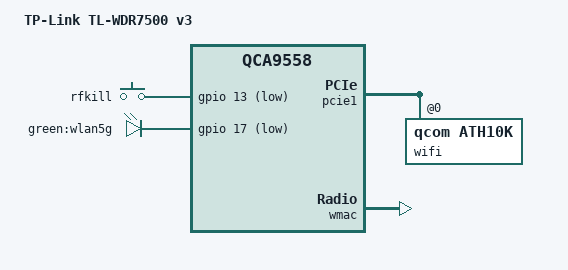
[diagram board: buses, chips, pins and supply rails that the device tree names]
// SPDX-License-Identifier: GPL-2.0-or-later OR MIT

#include "qca9558_tplink_archer-c.dtsi"

/ {
	compatible = "tplink,tl-wdr7500-v3", "qca,qca9558";
	model = "TP-Link TL-WDR7500 v3";

	aliases {
		label-mac-device = &eth1;
	};
};

&keys {
	rfkill {
		gpios = <&gpio 13 GPIO_ACTIVE_LOW>;
		linux,code = <KEY_RFKILL>;
		linux,input-type = <EV_SW>;
		debounce-interval = <60>;
	};
};

&leds {
	wlan5g {
		label = "green:wlan5g";
		gpios = <&gpio 17 GPIO_ACTIVE_LOW>;
		linux,default-trigger = "phy0tpt";
	};
};

&mtdparts {
	partition@0 {
		label = "u-boot";
		reg = <0x000000 0x020000>;
		read-only;

		nvmem-layout {
			compatible = "fixed-layout";
			#address-cells = <1>;
			#size-cells = <1>;

			macaddr_uboot_1fc00: macaddr@1fc00 {
				compatible = "mac-base";
				reg = <0x1fc00 0x6>;
				#nvmem-cell-cells = <1>;
			};
		};
	};

	partition@20000 {
		label = "firmware";
		compatible = "tplink,firmware";
		reg = <0x020000 0x7d0000>;
	};

	partition@7f0000 {
		label = "art";
		reg = <0x7f0000 0x010000>;
		read-only;

		nvmem-layout {
			compatible = "fixed-layout";
			#address-cells = <1>;
			#size-cells = <1>;

			cal_art_1000: calibration@1000 {
				reg = <0x1000 0x440>;
			};

			cal_art_5000: calibration@5000 {
				reg = <0x5000 0x844>;
			};
		};
	};
};

&eth0 {
	nvmem-cells = <&macaddr_uboot_1fc00 1>;
	nvmem-cell-names = "mac-address";
};

&eth1 {
	nvmem-cells = <&macaddr_uboot_1fc00 0>;
	nvmem-cell-names = "mac-address";
};

&pcie1 {
	wifi@0,0 {
		compatible = "qcom,ath10k";
		reg = <0x0000 0 0 0 0>;
		nvmem-cells = <&cal_art_5000>, <&macaddr_uboot_1fc00 (-1)>;
		nvmem-cell-names = "calibration", "mac-address";
	};
};

&wmac {
	nvmem-cells = <&macaddr_uboot_1fc00 0>, <&cal_art_1000>;
	nvmem-cell-names = "mac-address", "calibration";
};
